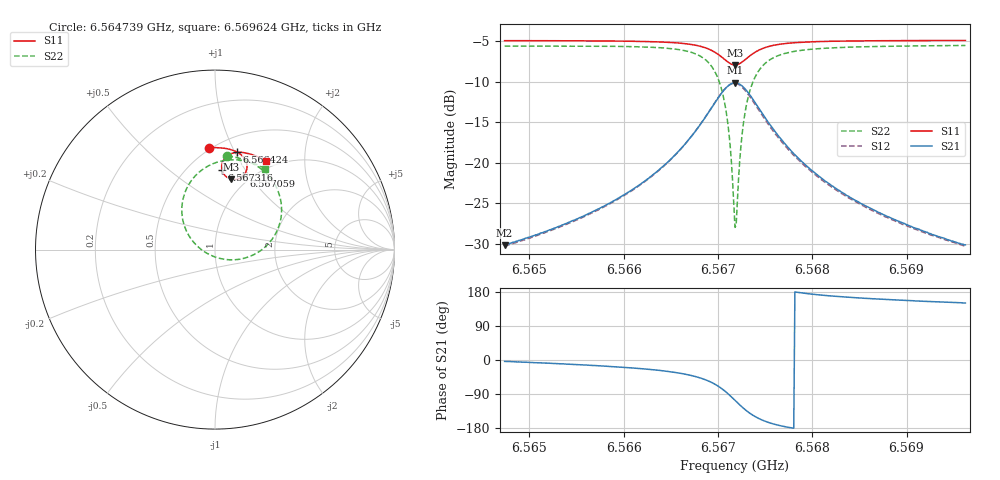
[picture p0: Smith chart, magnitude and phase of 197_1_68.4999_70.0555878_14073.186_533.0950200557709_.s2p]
#  HZ  S  RI  R  50.00
! Rohde & Schwarz Vector Network Analyzer
! Rohde-Schwarz,ZNB20-2Port,1311601062101988,3.16
! Created: UTC 3/20/2024, 5:12:35 PM
! freq[Hz]  re:S11  im:S11  re:S21  im:S21  re:S12  im:S12  re:S22  im:S22
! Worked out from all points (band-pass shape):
!   401 points, 6.564739 GHz to 6.569624 GHz, reference 50 ohm
!   highest |S21| = -10.10 dB at 6.567181 GHz (marker M1); lowest = -30.1 dB at 6.564739 GHz (marker M2)
!   |S21| within 3 dB of the highest: 6.566938 GHz to 6.567426 GHz (487.9 kHz wide, 0.00743 % of centre)
!   lowest |S11| = -7.9 dB at 6.567181 GHz (marker M3), VSWR 2.35, Z = 42.8 + j40.1 ohm
!   |S11| at or under -10 dB: nowhere
!   |S22| runs from -28.0 to -5.5 dB; largest |S21 - S12| = 0.016
!   S11 on the Smith chart (normalised r, x): 6.564739 GHz: 0.49, +0.82; 6.566424 GHz: 0.65, +1.02; 6.567059 GHz: 0.92, +0.94; 6.567316 GHz: 0.71, +0.79; 6.569624 GHz: 0.89, +1.30
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6.5647386e9  -0.0331 0.5681  0.031 -0.00199  0.0305 -0.00252  0.0686 0.522
6.5655569e9  0.0354 0.5665  0.0454 -0.0102  0.0446 -0.0109  0.1506 0.5043
6.5663752e9  0.1159 0.5467  0.0805 -0.0417  0.0792 -0.0425  0.2706 0.4385
6.566424e9  0.1216 0.5439  0.084 -0.0461  0.0829 -0.0472  0.2808 0.4293
6.5666805e9  0.1539 0.5206  0.1066 -0.0858  0.1049 -0.0875  0.3395 0.3516
6.5668637e9  0.1753 0.4843  0.1177 -0.1495  0.1147 -0.1527  0.3711 0.2288
6.5669736e9  0.1768 0.4469  0.1019 -0.2147  0.096 -0.2192  0.3454 0.1044
6.5670591e9  0.1585 0.4122  0.0532 -0.274  0.0428 -0.2772  0.2546 -0.00548
6.5671202e9  0.1294 0.3938  -0.0105 -0.3027  -0.0239 -0.3021  0.1363 -0.0538
6.5671691e9  0.0994 0.3906  -0.0728 -0.3034  -0.087 -0.298  0.0241 -0.0485
6.5671813e9  0.0918 0.3919  -0.0884 -0.2997  -0.1022 -0.293  -0.00357 -0.0398
6.5671935e9  0.0843 0.3942  -0.1038 -0.2945  -0.117 -0.2865  -0.03 -0.0285
6.5672057e9  0.0771 0.3971  -0.1181 -0.2876  -0.1308 -0.2785  -0.0549 -0.0145
6.5672423e9  0.0585 0.4101  -0.156 -0.2601  -0.1659 -0.2483  -0.1175 0.0392
6.5672668e9  0.0491 0.4213  -0.1754 -0.2377  -0.1831 -0.2248  -0.1478 0.0816
6.5673156e9  0.0387 0.4458  -0.1984 -0.1895  -0.2018 -0.1763  -0.1803 0.1693
6.5674011e9  0.0405 0.4838  -0.202 -0.1158  -0.2006 -0.1052  -0.1737 0.2983
6.5675233e9  0.0621 0.5171  -0.1747 -0.0513  -0.1712 -0.0447  -0.1132 0.407
6.5677065e9  0.0971 0.5369  -0.1318 -0.01  -0.1285 -0.00674  -0.0235 0.4733
6.5679996e9  0.1403 0.5422  -0.0889 0.00977  -0.0867 0.0112  0.0714 0.4992
6.5688179e9  0.221 0.5242  -0.0433 0.0163  -0.0422 0.0166  0.2038 0.4843
6.569624e9  0.2826 0.4958  -0.0271 0.0154  -0.0264 0.0155  0.2799 0.4516
